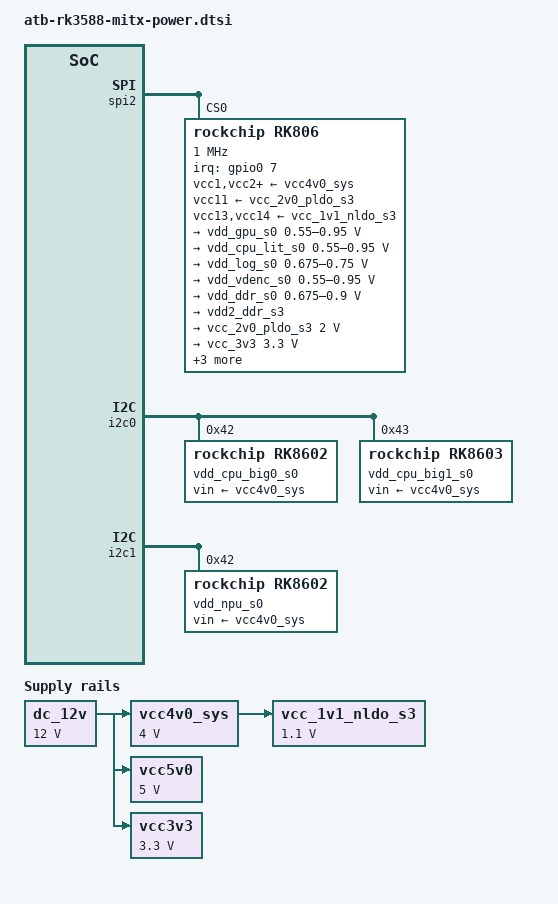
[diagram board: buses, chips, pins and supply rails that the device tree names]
/ {
	// Input suply
	dc_12v: dc-12v {
		compatible = "regulator-fixed";
		regulator-name = "dc_12v";
		regulator-always-on;
		regulator-boot-on;
		regulator-min-microvolt = <12000000>;
		regulator-max-microvolt = <12000000>;
	};
	
	// D6
	vcc4v0_sys: vcc4v0-sys {
		compatible = "regulator-fixed";
		regulator-name = "vcc4v0_sys";
		regulator-always-on;
		regulator-boot-on;
		regulator-min-microvolt = <4000000>;
		regulator-max-microvolt = <4000000>;
		vin-supply = <&dc_12v>;
	};

	// D7-1
	vcc5v0: vcc5v0 {
		compatible = "regulator-fixed";
		regulator-name = "vcc5v0";
		regulator-always-on;
		regulator-boot-on;
		regulator-min-microvolt = <5000000>;
		regulator-max-microvolt = <5000000>;
		vin-supply = <&dc_12v>;
	};

	// D7-2
	vcc3v3: vcc3v3 {
		compatible = "regulator-fixed";
		regulator-name = "vcc3v3";
		regulator-always-on;
		regulator-boot-on;
		regulator-min-microvolt = <3300000>;
		regulator-max-microvolt = <3300000>;
		vin-supply = <&dc_12v>;
	};
	
	//D5
	vcc_1v1_nldo_s3: vcc-1v1-nldo-s3 {
		compatible = "regulator-fixed";
		regulator-name = "vcc_1v1_nldo_s3";
		regulator-always-on;
		regulator-boot-on;
		regulator-min-microvolt = <1100000>;
		regulator-max-microvolt = <1100000>;
		vin-supply = <&vcc4v0_sys>;
	};
};

&pinctrl {
	pmic {
		pmic_pins_mitx: pmic-pins-mitx {
			rockchip,pins =
				/* pmic_int_l */
				<0 RK_PA7 0 &pcfg_pull_up>,
				/* pmic_sleep1 */
				<0 RK_PA2 1 &pcfg_pull_none>,
				/* pmic_sleep2 */
				<0 RK_PC3 1 &pcfg_pull_none>,
				/* pmic_sleep3 */
				<0 RK_PC2 1 &pcfg_pull_none>;
		};
	};
};

&spi2 {
	status = "okay";
	assigned-clocks = <&cru CLK_SPI2>;
	assigned-clock-rates = <200000000>;
	pinctrl-names = "default";
	pinctrl-0 = <&spi2m2_cs0 &spi2m2_pins>;
	num-cs = <1>;
	
	// D1 - PMIC
	rk806: rk806@0 {
		compatible = "rockchip,rk806";
		spi-max-frequency = <1000000>;
		reg = <0x0>;

		interrupt-parent = <&gpio0>;
		interrupts = <7 IRQ_TYPE_LEVEL_LOW>;

		pinctrl-names = "default", "pmic-power-off";
		pinctrl-0 = <&pmic_pins_mitx>, <&rk806_dvs1_null>, <&rk806_dvs2_null>, <&rk806_dvs3_null>;
		pinctrl-1 = <&rk806_dvs1_pwrdn>;

		//2800mv-3500mv 
		low_voltage_threshold = <3000>;
		// 2700mv-3400mv 
		shutdown_voltage_threshold = <2700>;
		// 140 160 
		shutdown_temperture_threshold = <160>;
		hotdie_temperture_threshold = <115>;

		// 0: restart PMU;
		// 1: reset all the power off reset registers,
		//    forcing the state to switch to ACTIVE mode;
		// 2: Reset all the power off reset registers,
		//    forcing the state to switch to ACTIVE mode,
		//    and simultaneously pull down the RESETB PIN for 5mS before releasing

		pmic-reset-func = <1>;

		vcc1-supply = <&vcc4v0_sys>;
		vcc2-supply = <&vcc4v0_sys>;
		vcc3-supply = <&vcc4v0_sys>;
		vcc4-supply = <&vcc4v0_sys>;
		vcc5-supply = <&vcc4v0_sys>;
		vcc6-supply = <&vcc4v0_sys>;
		vcc7-supply = <&vcc4v0_sys>;
		vcc8-supply = <&vcc4v0_sys>;
		vcc9-supply = <&vcc4v0_sys>;
		vcc10-supply = <&vcc4v0_sys>;
		vcc11-supply = <&vcc_2v0_pldo_s3>;
		vcc12-supply = <&vcc4v0_sys>;
		vcc13-supply = <&vcc_1v1_nldo_s3>;
		vcc14-supply = <&vcc_1v1_nldo_s3>;
		vcca-supply = <&vcc4v0_sys>;

		pwrkey {
			status = "okay";
		};

		pinctrl_rk806: pinctrl_rk806 {
			gpio-controller;
			#gpio-cells = <2>;

			rk806_dvs1_null: rk806_dvs1_null {
				pins = "gpio_pwrctrl2";
				function = "pin_fun0";
			};

			rk806_dvs1_slp: rk806_dvs1_slp {
				pins = "gpio_pwrctrl1";
				function = "pin_fun1";
			};

			rk806_dvs1_pwrdn: rk806_dvs1_pwrdn {
				pins = "gpio_pwrctrl1";
				function = "pin_fun2";
			};

			rk806_dvs1_rst: rk806_dvs1_rst {
				pins = "gpio_pwrctrl1";
				function = "pin_fun3";
			};

			rk806_dvs2_null: rk806_dvs2_null {
				pins = "gpio_pwrctrl2";
				function = "pin_fun0";
			};

			rk806_dvs2_slp: rk806_dvs2_slp {
				pins = "gpio_pwrctrl2";
				function = "pin_fun1";
			};

			rk806_dvs2_pwrdn: rk806_dvs2_pwrdn {
				pins = "gpio_pwrctrl2";
				function = "pin_fun2";
			};

			rk806_dvs2_rst: rk806_dvs2_rst {
				pins = "gpio_pwrctrl2";
				function = "pin_fun3";
			};

			rk806_dvs2_dvs: rk806_dvs2_dvs {
				pins = "gpio_pwrctrl2";
				function = "pin_fun4";
			};

			rk806_dvs2_gpio: rk806_dvs2_gpio {
				pins = "gpio_pwrctrl2";
				function = "pin_fun5";
			};

			rk806_dvs3_null: rk806_dvs3_null {
				pins = "gpio_pwrctrl3";
				function = "pin_fun0";
			};

			rk806_dvs3_slp: rk806_dvs3_slp {
				pins = "gpio_pwrctrl3";
				function = "pin_fun1";
			};

			rk806_dvs3_pwrdn: rk806_dvs3_pwrdn {
				pins = "gpio_pwrctrl3";
				function = "pin_fun2";
			};

			rk806_dvs3_rst: rk806_dvs3_rst {
				pins = "gpio_pwrctrl3";
				function = "pin_fun3";
			};

			rk806_dvs3_dvs: rk806_dvs3_dvs {
				pins = "gpio_pwrctrl3";
				function = "pin_fun4";
			};

			rk806_dvs3_gpio: rk806_dvs3_gpio {
				pins = "gpio_pwrctrl3";
				function = "pin_fun5";
			};
		};

		regulators {
			vdd_gpu_s0: vdd_gpu_mem_s0: DCDC_REG1 {
				regulator-boot-on;
				regulator-min-microvolt = <550000>;
				regulator-max-microvolt = <950000>;
				regulator-ramp-delay = <12500>;
				regulator-name = "vdd_gpu_s0";
				regulator-enable-ramp-delay = <400>;
				regulator-state-mem {
					regulator-off-in-suspend;
				};
			};

			vdd_cpu_lit_s0: vdd_cpu_lit_mem_s0: DCDC_REG2 {
				regulator-always-on;
				regulator-boot-on;
				regulator-min-microvolt = <550000>;
				regulator-max-microvolt = <950000>;
				regulator-ramp-delay = <12500>;
				regulator-name = "vdd_cpu_lit_s0";
				regulator-state-mem {
					regulator-off-in-suspend;
				};
			};

			vdd_log_s0: DCDC_REG3 {
				regulator-always-on;
				regulator-boot-on;
				regulator-min-microvolt = <675000>;
				regulator-max-microvolt = <750000>;
				regulator-ramp-delay = <12500>;
				regulator-name = "vdd_log_s0";
				regulator-state-mem {
					regulator-off-in-suspend;
					regulator-suspend-microvolt = <750000>;
				};
			};

			vdd_vdenc_s0: vdd_vdenc_mem_s0: DCDC_REG4 {
				regulator-always-on;
				regulator-boot-on;
				regulator-min-microvolt = <550000>;
				regulator-max-microvolt = <950000>;
				regulator-init-microvolt = <750000>;
				regulator-ramp-delay = <12500>;
				regulator-name = "vdd_vdenc_s0";
				regulator-state-mem {
					regulator-off-in-suspend;
				};
			};

			vdd_ddr_s0: DCDC_REG5 {
				regulator-always-on;
				regulator-boot-on;
				regulator-min-microvolt = <675000>;
				regulator-max-microvolt = <900000>;
				regulator-ramp-delay = <12500>;
				regulator-name = "vdd_ddr_s0";
				regulator-state-mem {
					regulator-off-in-suspend;
					regulator-suspend-microvolt = <850000>;
				};
			};

			vdd2_ddr_s3: DCDC_REG6 {
				regulator-always-on;
				regulator-boot-on;
				regulator-name = "vdd2_ddr_s3";
				regulator-state-mem {
					regulator-on-in-suspend;
				};
			};

			vcc_2v0_pldo_s3: DCDC_REG7 {
				regulator-always-on;
				regulator-boot-on;
				regulator-min-microvolt = <2000000>;
				regulator-max-microvolt = <2000000>;
				regulator-name = "vdd_2v0_pldo_s3";
				regulator-state-mem {
					regulator-on-in-suspend;
					regulator-suspend-microvolt = <2000000>;
				};
			};

			vcc_3v3: DCDC_REG8 {
				regulator-always-on;
				regulator-boot-on;
				regulator-min-microvolt = <3300000>;
				regulator-max-microvolt = <3300000>;
				regulator-name = "vcc_3v3_s3";
				regulator-state-mem {
					regulator-on-in-suspend;
					regulator-suspend-microvolt = <3300000>;
				};
			};

			vddq_ddr_s0: DCDC_REG9 {
				regulator-always-on;
				regulator-boot-on;
				regulator-name = "vddq_ddr_s0";
				regulator-state-mem {
					regulator-off-in-suspend;
				};
			};

			vcc_1v8_s3: DCDC_REG10 {
				regulator-always-on;
				regulator-boot-on;
				regulator-min-microvolt = <1800000>;
				regulator-max-microvolt = <1800000>;
				regulator-name = "vcc_1v8_s3";
				regulator-state-mem {
					regulator-on-in-suspend;
					regulator-suspend-microvolt = <1800000>;
				};
			};

			vcca_1v8_s0: PLDO_REG1 {
				regulator-always-on;
				regulator-boot-on;
				regulator-min-microvolt = <1800000>;
				regulator-max-microvolt = <1800000>;
				regulator-name = "avcc_1v8_s0";
				regulator-state-mem {
					regulator-off-in-suspend;
				};
			};

			vcc_1v8_s0: PLDO_REG2 {
				regulator-always-on;
				regulator-boot-on;
				regulator-min-microvolt = <1800000>;
				regulator-max-microvolt = <1800000>;
				regulator-name = "vcc_1v8_s0";
				regulator-state-mem {
					regulator-off-in-suspend;
					regulator-suspend-microvolt = <1800000>;
				};
			};

			vdda_1v2_s0: PLDO_REG3 {
				regulator-always-on;
				regulator-boot-on;
				regulator-min-microvolt = <1200000>;
				regulator-max-microvolt = <1200000>;
				regulator-name = "avdd_1v2_s0";
				regulator-state-mem {
					regulator-off-in-suspend;
				};
			};

			vcca_3v3_s0: PLDO_REG4 {
				regulator-always-on;
				regulator-boot-on;
				regulator-min-microvolt = <3300000>;
				regulator-max-microvolt = <3300000>;
				regulator-name = "vcc_3v3_s0";
				regulator-state-mem {
					regulator-off-in-suspend;
				};
			};

			vccio_sd_s0: PLDO_REG5 {
				regulator-always-on;
				regulator-boot-on;
				regulator-min-microvolt = <1800000>;
				regulator-max-microvolt = <3300000>;
				regulator-name = "vccio_sd_s0";
				regulator-state-mem {
					regulator-off-in-suspend;
				};
			};

			vcc_1v8_s3_PLDO6: PLDO_REG6 {
				regulator-always-on;
				regulator-boot-on;
				regulator-min-microvolt = <1800000>;
				regulator-max-microvolt = <1800000>;
				regulator-name = "pldo6_s3";
				regulator-state-mem {
					regulator-on-in-suspend;
					regulator-suspend-microvolt = <1800000>;
				};
			};

			vdd_0v75_s3: NLDO_REG1 {
				regulator-always-on;
				regulator-boot-on;
				regulator-min-microvolt = <750000>;
				regulator-max-microvolt = <750000>;
				regulator-name = "vdd_0v75_s3";
				regulator-state-mem {
					regulator-on-in-suspend;
					regulator-suspend-microvolt = <750000>;
				};
			};

			vdda_ddr_pll_s0: NLDO_REG2 {
				regulator-always-on;
				regulator-boot-on;
				regulator-min-microvolt = <850000>;
				regulator-max-microvolt = <850000>;
				regulator-name = "vdd_ddr_pll_s0";
				regulator-state-mem {
					regulator-off-in-suspend;
					regulator-suspend-microvolt = <850000>;
				};
			};

			vdda_0v75_s0: NLDO_REG3 {
				regulator-always-on;
				regulator-boot-on;
				regulator-min-microvolt = <837500>;
				regulator-max-microvolt = <837500>;
				regulator-name = "avdd_0v75_s0";
				regulator-state-mem {
					regulator-off-in-suspend;
				};
			};

			vdda_0v85_s0: NLDO_REG4 {
				regulator-always-on;
				regulator-boot-on;
				regulator-min-microvolt = <850000>;
				regulator-max-microvolt = <850000>;
				regulator-name = "vdd_0v85_s0";
				regulator-state-mem {
					regulator-off-in-suspend;
				};
			};

			vdd_0v75_s0: NLDO_REG5 {
				regulator-always-on;
				regulator-boot-on;
				regulator-min-microvolt = <750000>;
				regulator-max-microvolt = <750000>;
				regulator-name = "vdd_0v75_s0";
				regulator-state-mem {
					regulator-off-in-suspend;
				};
			};
		};
	};

};

&i2c0 {
	status = "okay";
	pinctrl-names = "default";
	pinctrl-0 = <&i2c0m2_xfer>;

	// D2
	vdd_cpu_big0_s0: vdd_cpu_big0_mem_s0: rk8602@42 {
		compatible = "rockchip,rk8602";
		reg = <0x42>;
		vin-supply = <&vcc4v0_sys>;
		regulator-compatible = "rk860x-reg";
		regulator-name = "vdd_cpu_big0_s0";
		regulator-min-microvolt = <550000>;
		regulator-max-microvolt = <1050000>;
		regulator-ramp-delay = <2300>;
		rockchip,suspend-voltage-selector = <1>;
		regulator-boot-on;
		regulator-always-on;
		regulator-state-mem {
			regulator-off-in-suspend;
		};
	};

	// D4
	vdd_cpu_big1_s0: vdd_cpu_big1_mem_s0: rk8603@43 {
		compatible = "rockchip,rk8603";
		reg = <0x43>;
		vin-supply = <&vcc4v0_sys>;
		regulator-compatible = "rk860x-reg";
		regulator-name = "vdd_cpu_big1_s0";
		regulator-min-microvolt = <550000>;
		regulator-max-microvolt = <1050000>;
		regulator-ramp-delay = <2300>;
		rockchip,suspend-voltage-selector = <1>;
		regulator-boot-on;
		regulator-always-on;
		regulator-state-mem {
			regulator-off-in-suspend;
		};
	};
};

&i2c1 {
	status = "okay";
	pinctrl-names = "default";
	pinctrl-0 = <&i2c1m2_xfer>;

	// D3
	vdd_npu_s0: vdd_npu_mem_s0: rk8602@42 {
		compatible = "rockchip,rk8602";
		reg = <0x42>;
		vin-supply = <&vcc4v0_sys>;
		regulator-compatible = "rk860x-reg";
		regulator-name = "vdd_npu_s0";
		regulator-min-microvolt = <550000>;
		regulator-max-microvolt = <950000>;
		regulator-ramp-delay = <2300>;
		rockchip,suspend-voltage-selector = <1>;
		regulator-boot-on;
		regulator-always-on;
		regulator-state-mem {
			regulator-off-in-suspend;
		};
	};
};
